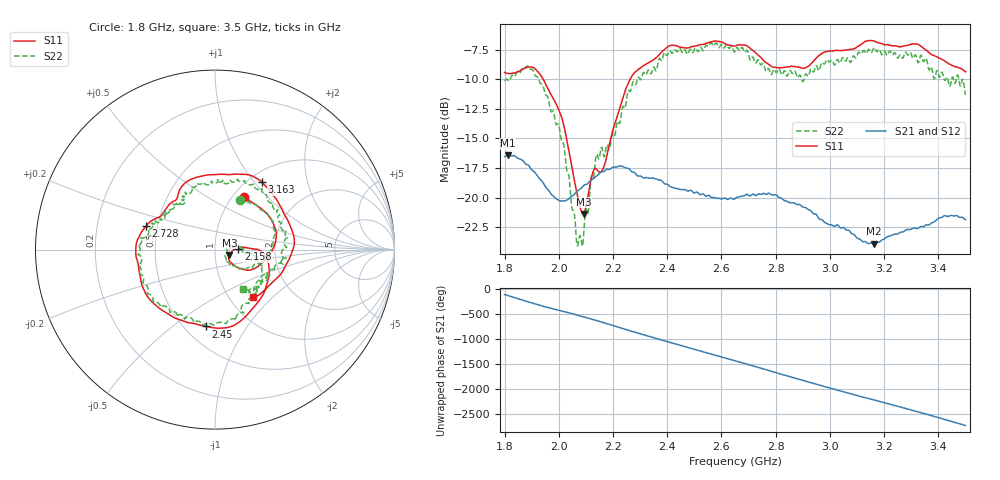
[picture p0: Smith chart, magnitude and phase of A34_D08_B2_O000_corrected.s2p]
! Created with skrf 1.9.0 (http://scikit-rf.org).
# Hz S RI R 50.0
!freq ReS11 ImS11 ReS21 ImS21 ReS12 ImS12 ReS22 ImS22
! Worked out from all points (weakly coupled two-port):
!   1601 points, 1.8 GHz to 3.5 GHz, reference 50 ohm
!   highest |S21| = -16.43 dB at 1.812 GHz (marker M1); lowest = -23.9 dB at 3.161 GHz (marker M2)
!   lowest |S11| = -21.4 dB at 2.091 GHz (marker M3), VSWR 1.19, Z = 58.6 - j3.5 ohm
!   |S11| at or under -10 dB: 1.942 GHz to 2.263 GHz (320.9 MHz wide, 15.3 % of centre)
!   |S22| runs from -24.1 to -6.9 dB; largest |S21 - S12| = 0.0028
!   S11 on the Smith chart (normalised r, x): 1.8 GHz: 1.13, +0.75; 2.158 GHz: 1.30, +0.01; 2.45 GHz: 0.63, -0.66; 2.728 GHz: 0.43, +0.13; 3.163 GHz: 1.15, +1.10; 3.5 GHz: 1.27, -0.77
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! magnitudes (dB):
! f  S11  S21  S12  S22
! 1.8 GHz  -9.4  -16.5  -16.5  -10.2
! 1.812 GHz  -9.5  -16.4  -16.4  -10.1
! 1.886 GHz  -9.0  -17.2  -17.3  -8.9
! 1.941 GHz  -10.0  -18.7  -18.7  -10.5
! 2.013 GHz  -13.4  -20.3  -20.3  -15.3
! 2.066 GHz  -19.5  -19.5  -19.5  -23.7
! 2.084 GHz  -21.2  -19.2  -19.1  -23.7
! 2.091 GHz  -21.4  -19.0  -19.0  -23.3
! 2.127 GHz  -17.7  -18.4  -18.4  -18.3
! 2.158 GHz  -17.8  -17.8  -17.8  -15.7
! 2.26 GHz  -10.1  -17.6  -17.6  -11.0
! 2.367 GHz  -8.0  -18.5  -18.4  -8.5
! 2.45 GHz  -7.3  -19.3  -19.3  -7.5
! 2.65 GHz  -7.2  -20.1  -20.1  -7.7
! 2.728 GHz  -7.8  -19.8  -19.8  -8.6
! 2.797 GHz  -9.0  -19.7  -19.7  -9.2
! 2.934 GHz  -8.6  -21.2  -21.2  -9.2
! 3.161 GHz  -6.8  -23.9  -23.8  -7.4
! 3.163 GHz  -6.8  -23.9  -23.8  -7.3
! 3.217 GHz  -7.1  -23.2  -23.2  -7.7
! 3.343 GHz  -7.3  -22.4  -22.4  -8.4
! 3.5 GHz  -9.4  -21.9  -21.8  -11.3
